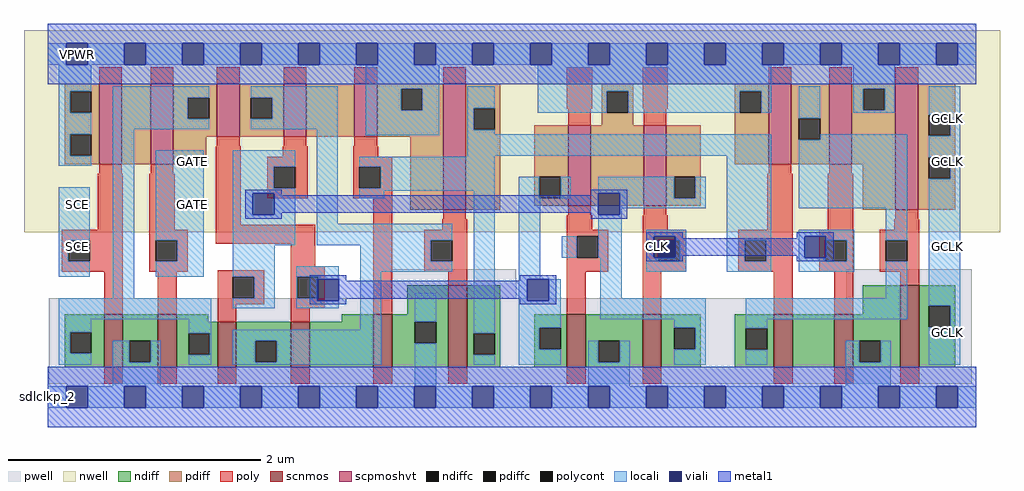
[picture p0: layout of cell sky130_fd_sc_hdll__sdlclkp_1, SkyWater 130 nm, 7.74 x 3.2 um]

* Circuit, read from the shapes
.subckt sky130_fd_sc_hdll__sdlclkp_1 CLK GATE SCE VGND VNB VPB VPWR GCLK
XM1 VGND SCE n1 VNB sky130_fd_pr__nfet_01v8 w=0.42 l=0.15
XM2 n1 GATE VGND VNB sky130_fd_pr__nfet_01v8 w=0.42 l=0.15
XM3 n2 n3 n1 VNB sky130_fd_pr__nfet_01v8 w=0.36 l=0.15
XM4 n4 n5 n2 VNB sky130_fd_pr__nfet_01v8 w=0.36 l=0.15
XM5 VGND n6 n4 VNB sky130_fd_pr__nfet_01v8 w=0.42 l=0.15
XM6 n6 n2 VGND VNB sky130_fd_pr__nfet_01v8 w=0.65 l=0.15
XM7 VGND n3 n5 VNB sky130_fd_pr__nfet_01v8 w=0.42 l=0.15
XM8 n3 CLK VGND VNB sky130_fd_pr__nfet_01v8 w=0.42 l=0.15
XM9 n7 n6 n8 VNB sky130_fd_pr__nfet_01v8 w=0.42 l=0.15
XM10 VGND CLK n7 VNB sky130_fd_pr__nfet_01v8 w=0.42 l=0.15
XM11 GCLK n8 VGND VNB sky130_fd_pr__nfet_01v8 w=0.65 l=0.15
XM12 n9 SCE VPWR VPB sky130_fd_pr__pfet_01v8_hvt w=0.64 l=0.18
XM13 n1 GATE n9 VPB sky130_fd_pr__pfet_01v8_hvt w=0.64 l=0.18
XM14 n2 n5 n1 VPB sky130_fd_pr__pfet_01v8_hvt w=0.42 l=0.18
XM15 n10 n3 n2 VPB sky130_fd_pr__pfet_01v8_hvt w=0.42 l=0.18
XM16 VPWR n6 n10 VPB sky130_fd_pr__pfet_01v8_hvt w=0.42 l=0.18
XM17 n6 n2 VPWR VPB sky130_fd_pr__pfet_01v8_hvt w=1 l=0.18
XM18 VPWR n3 n5 VPB sky130_fd_pr__pfet_01v8_hvt w=0.64 l=0.18
XM19 n3 CLK VPWR VPB sky130_fd_pr__pfet_01v8_hvt w=0.64 l=0.18
XM20 n8 n6 VPWR VPB sky130_fd_pr__pfet_01v8_hvt w=0.64 l=0.18
XM21 VPWR CLK n8 VPB sky130_fd_pr__pfet_01v8_hvt w=0.64 l=0.18
XM22 GCLK n8 VPWR VPB sky130_fd_pr__pfet_01v8_hvt w=1 l=0.18
.ends

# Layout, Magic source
magic
tech sky130A
magscale 1 2
<< nwell >>
rect -38 261 1510 582
<< pwell >>
rect 544 157 743 203
rect 1266 157 1465 203
rect 1 21 1465 157
rect 30 -17 64 21
<< scnmos >>
rect 89 47 119 131
rect 174 47 204 131
rect 269 47 299 119
rect 385 47 415 119
rect 516 47 546 131
rect 635 47 665 177
rect 823 47 853 131
rect 943 47 973 131
rect 1151 47 1181 131
rect 1247 47 1277 131
rect 1352 47 1382 177
<< scpmoshvt >>
rect 81 369 117 497
rect 163 369 199 497
rect 268 413 304 497
rect 374 413 410 497
rect 486 413 522 497
rect 627 297 663 497
rect 825 303 861 431
rect 945 303 981 431
rect 1143 369 1179 497
rect 1239 369 1275 497
rect 1344 297 1380 497
<< ndiff >>
rect 27 103 89 131
rect 27 69 35 103
rect 69 69 89 103
rect 27 47 89 69
rect 119 89 174 131
rect 119 55 129 89
rect 163 55 174 89
rect 119 47 174 55
rect 204 119 254 131
rect 570 131 635 177
rect 466 119 516 131
rect 204 101 269 119
rect 204 67 223 101
rect 257 67 269 101
rect 204 47 269 67
rect 299 89 385 119
rect 299 55 329 89
rect 363 55 385 89
rect 299 47 385 55
rect 415 47 516 119
rect 546 119 635 131
rect 546 85 582 119
rect 616 85 635 119
rect 546 47 635 85
rect 665 101 717 177
rect 1292 131 1352 177
rect 665 67 675 101
rect 709 67 717 101
rect 665 47 717 67
rect 771 110 823 131
rect 771 76 779 110
rect 813 76 823 110
rect 771 47 823 76
rect 853 89 943 131
rect 853 55 873 89
rect 907 55 943 89
rect 853 47 943 55
rect 973 110 1035 131
rect 973 76 993 110
rect 1027 76 1035 110
rect 973 47 1035 76
rect 1089 109 1151 131
rect 1089 75 1107 109
rect 1141 75 1151 109
rect 1089 47 1151 75
rect 1181 47 1247 131
rect 1277 89 1352 131
rect 1277 55 1287 89
rect 1321 55 1352 89
rect 1277 47 1352 55
rect 1382 145 1439 177
rect 1382 111 1397 145
rect 1431 111 1439 145
rect 1382 47 1439 111
<< pdiff >>
rect 27 485 81 497
rect 27 451 35 485
rect 69 451 81 485
rect 27 417 81 451
rect 27 383 35 417
rect 69 383 81 417
rect 27 369 81 383
rect 117 369 163 497
rect 199 475 268 497
rect 199 441 222 475
rect 256 441 268 475
rect 199 413 268 441
rect 304 475 374 497
rect 304 441 322 475
rect 356 441 374 475
rect 304 413 374 441
rect 410 413 486 497
rect 522 489 627 497
rect 522 455 560 489
rect 594 455 627 489
rect 522 413 627 455
rect 199 369 251 413
rect 575 297 627 413
rect 663 458 717 497
rect 663 424 675 458
rect 709 424 717 458
rect 878 485 928 497
rect 878 451 886 485
rect 920 451 928 485
rect 1089 485 1143 497
rect 878 431 928 451
rect 1089 451 1097 485
rect 1131 451 1143 485
rect 663 297 717 424
rect 771 349 825 431
rect 771 315 779 349
rect 813 315 825 349
rect 771 303 825 315
rect 861 303 945 431
rect 981 349 1035 431
rect 1089 369 1143 451
rect 1179 442 1239 497
rect 1179 408 1191 442
rect 1225 408 1239 442
rect 1179 369 1239 408
rect 1275 489 1344 497
rect 1275 455 1293 489
rect 1327 455 1344 489
rect 1275 369 1344 455
rect 981 315 993 349
rect 1027 315 1035 349
rect 981 303 1035 315
rect 1292 297 1344 369
rect 1380 448 1439 497
rect 1380 414 1397 448
rect 1431 414 1439 448
rect 1380 380 1439 414
rect 1380 346 1397 380
rect 1431 346 1439 380
rect 1380 297 1439 346
<< ndiffc >>
rect 35 69 69 103
rect 129 55 163 89
rect 223 67 257 101
rect 329 55 363 89
rect 582 85 616 119
rect 675 67 709 101
rect 779 76 813 110
rect 873 55 907 89
rect 993 76 1027 110
rect 1107 75 1141 109
rect 1287 55 1321 89
rect 1397 111 1431 145
<< pdiffc >>
rect 35 451 69 485
rect 35 383 69 417
rect 222 441 256 475
rect 322 441 356 475
rect 560 455 594 489
rect 675 424 709 458
rect 886 451 920 485
rect 1097 451 1131 485
rect 779 315 813 349
rect 1191 408 1225 442
rect 1293 455 1327 489
rect 993 315 1027 349
rect 1397 414 1431 448
rect 1397 346 1431 380
<< poly >>
rect 81 497 117 523
rect 163 497 199 523
rect 268 497 304 523
rect 374 497 410 523
rect 486 497 522 523
rect 627 497 663 523
rect 268 398 304 413
rect 374 398 410 413
rect 486 398 522 413
rect 81 354 117 369
rect 163 354 199 369
rect 79 265 119 354
rect 22 249 119 265
rect 22 215 32 249
rect 66 215 119 249
rect 22 199 119 215
rect 161 265 201 354
rect 266 273 306 398
rect 372 381 412 398
rect 348 365 412 381
rect 348 331 358 365
rect 392 331 412 365
rect 348 315 412 331
rect 484 381 524 398
rect 484 365 546 381
rect 484 331 494 365
rect 528 331 546 365
rect 484 315 546 331
rect 161 249 222 265
rect 161 215 171 249
rect 205 215 222 249
rect 266 243 424 273
rect 161 199 222 215
rect 385 207 424 243
rect 89 131 119 199
rect 174 131 204 199
rect 269 191 343 201
rect 269 157 293 191
rect 327 157 343 191
rect 269 147 343 157
rect 385 191 439 207
rect 385 157 395 191
rect 429 157 439 191
rect 269 119 299 147
rect 385 141 439 157
rect 385 119 415 141
rect 516 131 546 315
rect 823 457 863 523
rect 825 431 861 457
rect 943 457 983 523
rect 1143 497 1179 523
rect 1239 497 1275 523
rect 1344 497 1380 523
rect 945 431 981 457
rect 1143 354 1179 369
rect 1239 354 1275 369
rect 627 282 663 297
rect 825 288 861 303
rect 945 288 981 303
rect 625 265 665 282
rect 597 249 665 265
rect 597 215 607 249
rect 641 215 665 249
rect 597 199 665 215
rect 635 177 665 199
rect 823 265 863 288
rect 943 265 983 288
rect 1141 265 1181 354
rect 1237 265 1277 354
rect 1344 282 1380 297
rect 1342 265 1382 282
rect 823 255 889 265
rect 823 221 839 255
rect 873 221 889 255
rect 823 199 889 221
rect 943 249 1012 265
rect 943 215 968 249
rect 1002 215 1012 249
rect 943 199 1012 215
rect 1095 249 1181 265
rect 1095 215 1105 249
rect 1139 215 1181 249
rect 1095 199 1181 215
rect 1223 249 1277 265
rect 1223 215 1233 249
rect 1267 215 1277 249
rect 1223 199 1277 215
rect 1319 249 1382 265
rect 1319 215 1329 249
rect 1363 215 1382 249
rect 1319 199 1382 215
rect 823 131 853 199
rect 943 131 973 199
rect 1151 131 1181 199
rect 1247 131 1277 199
rect 1352 177 1382 199
rect 89 21 119 47
rect 174 21 204 47
rect 269 21 299 47
rect 385 21 415 47
rect 516 21 546 47
rect 635 21 665 47
rect 823 21 853 47
rect 943 21 973 47
rect 1151 21 1181 47
rect 1247 21 1277 47
rect 1352 21 1382 47
<< polycont >>
rect 32 215 66 249
rect 358 331 392 365
rect 494 331 528 365
rect 171 215 205 249
rect 293 157 327 191
rect 395 157 429 191
rect 607 215 641 249
rect 839 221 873 255
rect 968 215 1002 249
rect 1105 215 1139 249
rect 1233 215 1267 249
rect 1329 215 1363 249
<< locali >>
rect 0 527 29 561
rect 63 527 121 561
rect 155 527 213 561
rect 247 527 305 561
rect 339 527 397 561
rect 431 527 489 561
rect 523 527 581 561
rect 615 527 673 561
rect 707 527 765 561
rect 799 527 857 561
rect 891 527 949 561
rect 983 527 1041 561
rect 1075 527 1133 561
rect 1167 527 1225 561
rect 1259 527 1317 561
rect 1351 527 1409 561
rect 1443 527 1472 561
rect 17 485 69 527
rect 17 451 35 485
rect 17 417 69 451
rect 17 383 35 417
rect 17 367 69 383
rect 103 475 256 493
rect 103 441 222 475
rect 103 425 256 441
rect 322 475 460 493
rect 356 441 460 475
rect 322 425 460 441
rect 17 249 66 333
rect 17 215 32 249
rect 17 191 66 215
rect 103 157 137 425
rect 171 249 247 391
rect 205 215 247 249
rect 171 191 247 215
rect 293 365 392 391
rect 293 331 358 365
rect 293 323 392 331
rect 293 289 325 323
rect 359 289 392 323
rect 293 241 392 289
rect 426 275 460 425
rect 504 489 621 527
rect 504 455 560 489
rect 594 455 621 489
rect 504 415 621 455
rect 665 458 709 493
rect 665 424 675 458
rect 777 485 1147 527
rect 777 451 886 485
rect 920 451 1097 485
rect 1131 451 1147 485
rect 665 417 709 424
rect 1191 442 1225 493
rect 1277 489 1343 527
rect 1277 455 1293 489
rect 1327 455 1343 489
rect 1277 451 1343 455
rect 665 383 1147 417
rect 665 381 709 383
rect 494 365 709 381
rect 528 331 709 365
rect 494 327 709 331
rect 494 315 533 327
rect 426 249 641 275
rect 426 241 607 249
rect 293 191 360 241
rect 495 215 607 241
rect 327 157 360 191
rect 17 123 259 157
rect 293 141 360 157
rect 394 191 461 207
rect 394 157 395 191
rect 429 187 461 191
rect 394 153 427 157
rect 394 141 461 153
rect 495 199 641 215
rect 17 103 69 123
rect 17 69 35 103
rect 223 101 259 123
rect 495 107 529 199
rect 17 51 69 69
rect 103 55 129 89
rect 163 55 179 89
rect 103 17 179 55
rect 257 67 259 101
rect 223 51 259 67
rect 293 89 529 107
rect 293 55 329 89
rect 363 55 529 89
rect 293 51 529 55
rect 582 119 616 165
rect 582 17 616 85
rect 675 101 709 327
rect 675 51 709 67
rect 747 315 779 349
rect 813 315 829 349
rect 873 323 993 349
rect 747 187 781 315
rect 907 315 993 323
rect 1027 315 1043 349
rect 907 299 1043 315
rect 907 289 910 299
rect 815 221 839 255
rect 873 221 910 289
rect 747 153 760 187
rect 794 153 813 187
rect 747 110 813 153
rect 876 157 910 221
rect 949 255 1012 265
rect 949 221 961 255
rect 995 249 1012 255
rect 949 215 968 221
rect 1002 215 1012 249
rect 949 199 1012 215
rect 1077 249 1147 383
rect 1397 448 1447 493
rect 1225 408 1363 417
rect 1191 299 1363 408
rect 1077 215 1105 249
rect 1139 215 1147 249
rect 1077 199 1147 215
rect 1191 255 1279 265
rect 1191 221 1200 255
rect 1234 249 1279 255
rect 1191 215 1233 221
rect 1267 215 1279 249
rect 1191 199 1279 215
rect 1329 249 1363 299
rect 1329 157 1363 215
rect 876 123 1043 157
rect 747 76 779 110
rect 993 110 1043 123
rect 747 51 813 76
rect 857 55 873 89
rect 907 55 923 89
rect 857 17 923 55
rect 1027 76 1043 110
rect 993 51 1043 76
rect 1107 123 1363 157
rect 1431 414 1447 448
rect 1397 380 1447 414
rect 1431 346 1447 380
rect 1397 145 1447 346
rect 1107 109 1141 123
rect 1431 111 1447 145
rect 1107 51 1141 75
rect 1265 55 1287 89
rect 1321 55 1337 89
rect 1265 17 1337 55
rect 1397 51 1447 111
rect 0 -17 29 17
rect 63 -17 121 17
rect 155 -17 213 17
rect 247 -17 305 17
rect 339 -17 397 17
rect 431 -17 489 17
rect 523 -17 581 17
rect 615 -17 673 17
rect 707 -17 765 17
rect 799 -17 857 17
rect 891 -17 949 17
rect 983 -17 1041 17
rect 1075 -17 1133 17
rect 1167 -17 1225 17
rect 1259 -17 1317 17
rect 1351 -17 1409 17
rect 1443 -17 1472 17
<< viali >>
rect 29 527 63 561
rect 121 527 155 561
rect 213 527 247 561
rect 305 527 339 561
rect 397 527 431 561
rect 489 527 523 561
rect 581 527 615 561
rect 673 527 707 561
rect 765 527 799 561
rect 857 527 891 561
rect 949 527 983 561
rect 1041 527 1075 561
rect 1133 527 1167 561
rect 1225 527 1259 561
rect 1317 527 1351 561
rect 1409 527 1443 561
rect 325 289 359 323
rect 427 157 429 187
rect 429 157 461 187
rect 427 153 461 157
rect 873 289 907 323
rect 760 153 794 187
rect 961 249 995 255
rect 961 221 968 249
rect 968 221 995 249
rect 1200 249 1234 255
rect 1200 221 1233 249
rect 1233 221 1234 249
rect 29 -17 63 17
rect 121 -17 155 17
rect 213 -17 247 17
rect 305 -17 339 17
rect 397 -17 431 17
rect 489 -17 523 17
rect 581 -17 615 17
rect 673 -17 707 17
rect 765 -17 799 17
rect 857 -17 891 17
rect 949 -17 983 17
rect 1041 -17 1075 17
rect 1133 -17 1167 17
rect 1225 -17 1259 17
rect 1317 -17 1351 17
rect 1409 -17 1443 17
<< metal1 >>
rect 0 561 1472 592
rect 0 527 29 561
rect 63 527 121 561
rect 155 527 213 561
rect 247 527 305 561
rect 339 527 397 561
rect 431 527 489 561
rect 523 527 581 561
rect 615 527 673 561
rect 707 527 765 561
rect 799 527 857 561
rect 891 527 949 561
rect 983 527 1041 561
rect 1075 527 1133 561
rect 1167 527 1225 561
rect 1259 527 1317 561
rect 1351 527 1409 561
rect 1443 527 1472 561
rect 0 496 1472 527
rect 313 323 371 329
rect 313 289 325 323
rect 359 320 371 323
rect 861 323 919 329
rect 861 320 873 323
rect 359 292 873 320
rect 359 289 371 292
rect 313 283 371 289
rect 861 289 873 292
rect 907 289 919 323
rect 861 283 919 289
rect 949 255 1007 261
rect 949 221 961 255
rect 995 252 1007 255
rect 1188 255 1246 261
rect 1188 252 1200 255
rect 995 224 1200 252
rect 995 221 1007 224
rect 949 215 1007 221
rect 1188 221 1200 224
rect 1234 221 1246 255
rect 1188 215 1246 221
rect 415 187 473 193
rect 415 153 427 187
rect 461 184 473 187
rect 748 187 806 193
rect 748 184 760 187
rect 461 156 760 184
rect 461 153 473 156
rect 415 147 473 153
rect 748 153 760 156
rect 794 153 806 187
rect 748 147 806 153
rect 0 17 1472 48
rect 0 -17 29 17
rect 63 -17 121 17
rect 155 -17 213 17
rect 247 -17 305 17
rect 339 -17 397 17
rect 431 -17 489 17
rect 523 -17 581 17
rect 615 -17 673 17
rect 707 -17 765 17
rect 799 -17 857 17
rect 891 -17 949 17
rect 983 -17 1041 17
rect 1075 -17 1133 17
rect 1167 -17 1225 17
rect 1259 -17 1317 17
rect 1351 -17 1409 17
rect 1443 -17 1472 17
rect 0 -48 1472 -17
<< labels >>
rlabel comment s 0 0 0 0 4 sdlclkp_2
flabel metal1 s 949 221 983 255 0 FreeSans 200 0 0 0 CLK
port 1 nsew signal input
flabel metal1 s 30 -17 64 17 0 FreeSans 200 0 0 0 VGND
port 4 nsew ground bidirectional
flabel metal1 s 30 527 64 561 0 FreeSans 200 0 0 0 VPWR
port 7 nsew power bidirectional
flabel locali s 30 289 64 323 0 FreeSans 200 0 0 0 SCE
port 3 nsew signal input
flabel locali s 1409 425 1443 459 0 FreeSans 200 0 0 0 GCLK
port 8 nsew signal output
flabel locali s 1409 357 1443 391 0 FreeSans 200 0 0 0 GCLK
port 8 nsew signal output
flabel locali s 213 357 247 391 0 FreeSans 200 0 0 0 GATE
port 2 nsew signal input
flabel locali s 1409 85 1443 119 0 FreeSans 200 0 0 0 GCLK
port 8 nsew signal output
flabel locali s 213 289 247 323 0 FreeSans 200 0 0 0 GATE
port 2 nsew signal input
flabel locali s 30 221 64 255 0 FreeSans 200 0 0 0 SCE
port 3 nsew signal input
flabel locali s 1409 221 1443 255 0 FreeSans 200 0 0 0 GCLK
port 8 nsew signal output
flabel nwell s 30 527 64 561 0 FreeSans 200 0 0 0 VPB
port 6 nsew power bidirectional
flabel pwell s 30 -17 64 17 0 FreeSans 200 0 0 0 VNB
port 5 nsew ground bidirectional
<< properties >>
string LEFsite unithd
string LEFclass CORE
string FIXED_BBOX 0 0 1472 544
string GDS_FILE $PDKPATH/libs.ref/sky130_fd_sc_hdll/gds/sky130_fd_sc_hdll.gds
string LEFsymmetry X Y R90
string GDS_END 204560
string GDS_START 193056
string LEFproperties maskLayoutSubType "abstract" prCellType "standard" originalViewName "layout"
<< end >>
